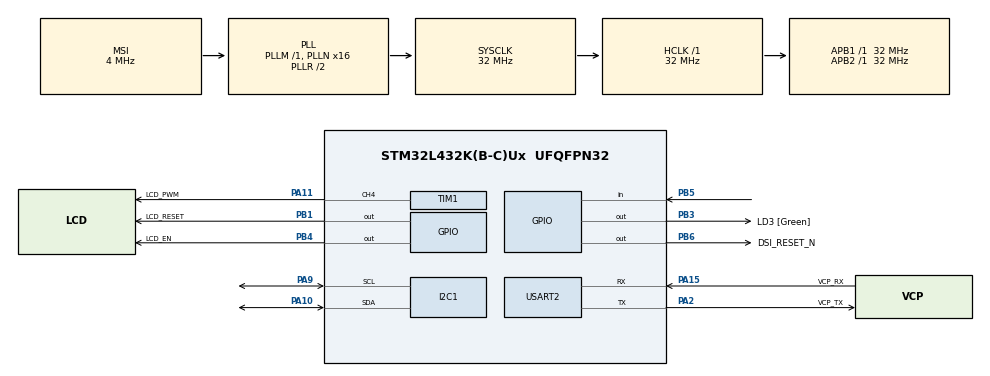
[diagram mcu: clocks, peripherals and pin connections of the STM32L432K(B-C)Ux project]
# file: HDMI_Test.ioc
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Dma.Request0=USART2_RX
Dma.Request1=USART2_TX
Dma.USART2_RX.0.Direction=DMA_PERIPH_TO_MEMORY
Dma.USART2_RX.0.Instance=DMA1_Channel6
Dma.USART2_RX.0.MemDataAlignment=DMA_MDATAALIGN_BYTE
Dma.USART2_RX.0.MemInc=DMA_MINC_ENABLE
Dma.USART2_RX.0.Mode=DMA_NORMAL
Dma.USART2_RX.0.PeriphDataAlignment=DMA_PDATAALIGN_BYTE
Dma.USART2_RX.0.PeriphInc=DMA_PINC_DISABLE
Dma.USART2_RX.0.Priority=DMA_PRIORITY_LOW
Dma.USART2_TX.1.Direction=DMA_MEMORY_TO_PERIPH
Dma.USART2_TX.1.Instance=DMA1_Channel7
Dma.USART2_TX.1.MemDataAlignment=DMA_MDATAALIGN_BYTE
Dma.USART2_TX.1.MemInc=DMA_MINC_ENABLE
Dma.USART2_TX.1.Mode=DMA_NORMAL
Dma.USART2_TX.1.PeriphDataAlignment=DMA_PDATAALIGN_BYTE
Dma.USART2_TX.1.PeriphInc=DMA_PINC_DISABLE
Dma.USART2_TX.1.Priority=DMA_PRIORITY_LOW
I2C1.Timing=0x00B07CB4
Mcu.Family=STM32L4
Mcu.Name=STM32L432K(B-C)Ux
Mcu.Package=UFQFPN32
NVIC.DMA1_Channel6_IRQn=true\:0\:0\:false\:false\:true\:false\:true\:true
NVIC.DMA1_Channel7_IRQn=true\:0\:0\:false\:false\:true\:false\:true\:true
NVIC.PriorityGroup=NVIC_PRIORITYGROUP_4
PA0.GPIO_Label=MCO [High speed clock in]
PA0.Mode=HSE-External-Clock-Source-for-LittleOrca
PA0.Signal=RCC_CK_IN
PA10.Mode=I2C
PA10.Signal=I2C1_SDA
PA11.GPIO_Label=LCD_PWM
PA11.Signal=S_TIM1_CH4
PA13\ (JTMS-SWDIO).GPIO_Label=SWDIO
PA13\ (JTMS-SWDIO).Mode=Serial_Wire
PA13\ (JTMS-SWDIO).Signal=SYS_JTMS-SWDIO
PA14\ (JTCK-SWCLK).GPIO_Label=SWCLK
PA14\ (JTCK-SWCLK).Mode=Serial_Wire
PA14\ (JTCK-SWCLK).Signal=SYS_JTCK-SWCLK
PA15\ (JTDI).GPIO_Label=VCP_RX
PA15\ (JTDI).Mode=Asynchronous
PA15\ (JTDI).Signal=USART2_RX
PA2.GPIO_Label=VCP_TX
PA2.Mode=Asynchronous
PA2.Signal=USART2_TX
PA9.Mode=I2C
PA9.Signal=I2C1_SCL
PB1.GPIO_Label=LCD_RESET
PB1.Signal=GPIO_Output
PB3\ (JTDO-TRACESWO).GPIO_Label=LD3 [Green]
PB3\ (JTDO-TRACESWO).Signal=GPIO_Output
PB4\ (NJTRST).GPIO_Label=LCD_EN
PB4\ (NJTRST).Signal=GPIO_Output
PB5.Signal=GPIO_Input
PB6.GPIO_Label=DSI_RESET_N
PB6.Signal=GPIO_Output
PC14-OSC32_IN\ (PC14).Mode=LSE-External-Oscillator
PC14-OSC32_IN\ (PC14).Signal=RCC_OSC32_IN
PC15-OSC32_OUT\ (PC15).Mode=LSE-External-Oscillator
PC15-OSC32_OUT\ (PC15).Signal=RCC_OSC32_OUT
ProjectManager.HeapSize=0x200
ProjectManager.StackSize=0x400
ProjectManager.TargetToolchain=STM32CubeIDE
RCC.AHBFreq_Value=32000000
RCC.APB1Freq_Value=32000000
RCC.APB1TimFreq_Value=32000000
RCC.APB2Freq_Value=32000000
RCC.APB2TimFreq_Value=32000000
RCC.CortexFreq_Value=32000000
RCC.HCLKFreq_Value=32000000
RCC.HSE_VALUE=8000000
RCC.HSI16_VALUE=16000000
RCC.HSI48_VALUE=48000000
RCC.HSI_VALUE=16000000
RCC.MSI_VALUE=4000000
RCC.PLLMUL=RCC_PLLMUL_4
RCC.PLLN=16
RCC.SYSCLKFreq_VALUE=32000000
RCC.SYSCLKSource=RCC_SYSCLKSOURCE_PLLCLK
RCC.VCOOutputFreq_Value=64000000
SH.S_TIM1_CH4.0=TIM1_CH4,PWM Generation4 CH4
TIM1.AutoReloadPreload=TIM_AUTORELOAD_PRELOAD_ENABLE
TIM1.Channel-PWM\ Generation4\ CH4=TIM_CHANNEL_4
TIM1.Period=639
TIM1.Pulse-PWM\ Generation4\ CH4=13107
USART2.VirtualMode-Asynchronous=VM_ASYNC
VP_TIM1_VS_ClockSourceINT.Mode=Internal
board=NUCLEO-L432KC

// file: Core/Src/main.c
/* USER CODE BEGIN Header */
/**
  ******************************************************************************
  * @file           : main.c
  * @brief          : Main program body
  ******************************************************************************
  * @attention
  *
  * Copyright (c) 2023 STMicroelectronics.
  * All rights reserved.
  *
  * This software is licensed under terms that can be found in the LICENSE file
  * in the root directory of this software component.
  * If no LICENSE file comes with this software, it is provided AS-IS.
  *
  ******************************************************************************
  */
/* USER CODE END Header */
#include "main.h"

I2C_HandleTypeDef hi2c1;

TIM_HandleTypeDef htim1;

UART_HandleTypeDef huart2;
DMA_HandleTypeDef hdma_usart2_rx;
DMA_HandleTypeDef hdma_usart2_tx;

void SystemClock_Config(void);
static void MX_GPIO_Init(void);
static void MX_DMA_Init(void);
static void MX_USART2_UART_Init(void);
static void MX_I2C1_Init(void);
static void MX_TIM1_Init(void);
/* USER CODE BEGIN PFP */
#include "State_Machine_GIT.h"
#include "TestEDID_A1.h"
/* USER CODE END PFP */

int main(void)
{

  /* MCU Configuration--------------------------------------------------------*/

  /* Reset of all peripherals, Initializes the Flash interface and the Systick. */
  HAL_Init();

  /* Configure the system clock */
  SystemClock_Config();

  /* Initialize all configured peripherals */
  MX_GPIO_Init();
  MX_DMA_Init();
  MX_USART2_UART_Init();
  MX_I2C1_Init();
  MX_TIM1_Init();
  /* USER CODE BEGIN 2 */
  HAL_UART_Transmit(&huart2,"RS1\r\n",6,10);
  HAL_GPIO_WritePin(GPIOB,LCD_RESET_Pin,GPIO_PIN_SET);
  HAL_Delay(100);
  HAL_GPIO_WritePin(GPIOB,LCD_EN_Pin,GPIO_PIN_SET);
  HAL_TIM_Base_Start(&htim1);
  HAL_TIM_PWM_Start(&htim1,TIM_CHANNEL_4 );
  HAL_UART_Transmit(&huart2,"PWM ON\r\n",6,10);
//  HAL_GPIO_WritePin(GPIOB,LCD_EN_Pin,GPIO_PIN_SET);
//  HAL_UART_Transmit(&huart2,"LCD_EN_Pin ON\r\n",6,10);
//  HAL_GPIO_WritePin(GPIOB,DSI_INT_Pin,GPIO_PIN_RESET);
//  HAL_GPIO_WritePin(GPIOB,LCD_RESET_Pin,GPIO_PIN_SET);
//  HAL_UART_Transmit(&huart2,"LCD_RESET_Pin ON\r\n",6,10);
  HAL_GPIO_WritePin(GPIOB,DSI_RESET_N_Pin,GPIO_PIN_SET);
//  HAL_Delay(100);
  HAL_GPIO_WritePin(GPIOB,LCD_RESET_Pin,GPIO_PIN_RESET);
  HAL_Delay(200);
  HAL_GPIO_WritePin(GPIOB,LCD_RESET_Pin,GPIO_PIN_SET);
  HAL_Delay(1000);
//
//  //__HAL_TIM_SET_COMPARE(&htim1, TIM_CHANNEL_4, 13107);
  RS1(&huart2,&hi2c1);
  //RS2(&huart2,&hi2c1);
  //RS3(&huart2,&hi2c1);
  //RS2_A1(&huart2,&hi2c1); //Con HDMI desconectado
  //HAL_Delay(2000); //Conecto HDMI pero no saca la imagen de ayer por alguna razón
  //RS3_A1(&huart2,&hi2c1);
  /* USER CODE END 2 */

  /* Infinite loop */
  while (1)
  {

//    /* USER CODE BEGIN 3 */
//	  int_status_check(&huart2,&hi2c1);
	 	 //data_send_COM_Info(&huart2,0x23456789,0x1234,1);
	 	 //RS2_A1(&huart2,&hi2c1); //Con HDMI desconectado
	 	 //HAL_Delay(2000); //Conecto HDMI pero no saca la imagen de ayer por alguna razón
	 	 //RS3_A1(&huart2,&hi2c1);
	 	 //HAL_Delay(1000);
  }
  /* USER CODE END 3 */
}

void SystemClock_Config(void)
{
  RCC_OscInitTypeDef RCC_OscInitStruct = {0};
  RCC_ClkInitTypeDef RCC_ClkInitStruct = {0};

  /** Configure the main internal regulator output voltage
  */
  if (HAL_PWREx_ControlVoltageScaling(PWR_REGULATOR_VOLTAGE_SCALE1) != HAL_OK)
  {
    Error_Handler();
  }

  /** Configure LSE Drive Capability
  */
  HAL_PWR_EnableBkUpAccess();
  __HAL_RCC_LSEDRIVE_CONFIG(RCC_LSEDRIVE_LOW);

  /** Initializes the RCC Oscillators according to the specified parameters
  * in the RCC_OscInitTypeDef structure.
  */
  RCC_OscInitStruct.OscillatorType = RCC_OSCILLATORTYPE_LSE|RCC_OSCILLATORTYPE_MSI;
  RCC_OscInitStruct.LSEState = RCC_LSE_ON;
  RCC_OscInitStruct.MSIState = RCC_MSI_ON;
  RCC_OscInitStruct.MSICalibrationValue = 0;
  RCC_OscInitStruct.MSIClockRange = RCC_MSIRANGE_6;
  RCC_OscInitStruct.PLL.PLLState = RCC_PLL_ON;
  RCC_OscInitStruct.PLL.PLLSource = RCC_PLLSOURCE_MSI;
  RCC_OscInitStruct.PLL.PLLM = 1;
  RCC_OscInitStruct.PLL.PLLN = 16;
  RCC_OscInitStruct.PLL.PLLP = RCC_PLLP_DIV7;
  RCC_OscInitStruct.PLL.PLLQ = RCC_PLLQ_DIV2;
  RCC_OscInitStruct.PLL.PLLR = RCC_PLLR_DIV2;
  if (HAL_RCC_OscConfig(&RCC_OscInitStruct) != HAL_OK)
  {
    Error_Handler();
  }

  /** Initializes the CPU, AHB and APB buses clocks
  */
  RCC_ClkInitStruct.ClockType = RCC_CLOCKTYPE_HCLK|RCC_CLOCKTYPE_SYSCLK
                              |RCC_CLOCKTYPE_PCLK1|RCC_CLOCKTYPE_PCLK2;
  RCC_ClkInitStruct.SYSCLKSource = RCC_SYSCLKSOURCE_PLLCLK;
  RCC_ClkInitStruct.AHBCLKDivider = RCC_SYSCLK_DIV1;
  RCC_ClkInitStruct.APB1CLKDivider = RCC_HCLK_DIV1;
  RCC_ClkInitStruct.APB2CLKDivider = RCC_HCLK_DIV1;

  if (HAL_RCC_ClockConfig(&RCC_ClkInitStruct, FLASH_LATENCY_1) != HAL_OK)
  {
    Error_Handler();
  }

  /** Enable MSI Auto calibration
  */
  HAL_RCCEx_EnableMSIPLLMode();
}

static void MX_I2C1_Init(void)
{

  hi2c1.Instance = I2C1;
  hi2c1.Init.Timing = 0x00B07CB4;
  hi2c1.Init.OwnAddress1 = 0;
  hi2c1.Init.AddressingMode = I2C_ADDRESSINGMODE_7BIT;
  hi2c1.Init.DualAddressMode = I2C_DUALADDRESS_DISABLE;
  hi2c1.Init.OwnAddress2 = 0;
  hi2c1.Init.OwnAddress2Masks = I2C_OA2_NOMASK;
  hi2c1.Init.GeneralCallMode = I2C_GENERALCALL_DISABLE;
  hi2c1.Init.NoStretchMode = I2C_NOSTRETCH_DISABLE;
  if (HAL_I2C_Init(&hi2c1) != HAL_OK)
  {
    Error_Handler();
  }

  /** Configure Analogue filter
  */
  if (HAL_I2CEx_ConfigAnalogFilter(&hi2c1, I2C_ANALOGFILTER_ENABLE) != HAL_OK)
  {
    Error_Handler();
  }

  /** Configure Digital filter
  */
  if (HAL_I2CEx_ConfigDigitalFilter(&hi2c1, 0) != HAL_OK)
  {
    Error_Handler();
  }

}

static void MX_TIM1_Init(void)
{

  TIM_ClockConfigTypeDef sClockSourceConfig = {0};
  TIM_MasterConfigTypeDef sMasterConfig = {0};
  TIM_OC_InitTypeDef sConfigOC = {0};
  TIM_BreakDeadTimeConfigTypeDef sBreakDeadTimeConfig = {0};

  htim1.Instance = TIM1;
  htim1.Init.Prescaler = 0;
  htim1.Init.CounterMode = TIM_COUNTERMODE_UP;
  htim1.Init.Period = 639;
  htim1.Init.ClockDivision = TIM_CLOCKDIVISION_DIV1;
  htim1.Init.RepetitionCounter = 0;
  htim1.Init.AutoReloadPreload = TIM_AUTORELOAD_PRELOAD_ENABLE;
  if (HAL_TIM_Base_Init(&htim1) != HAL_OK)
  {
    Error_Handler();
  }
  sClockSourceConfig.ClockSource = TIM_CLOCKSOURCE_INTERNAL;
  if (HAL_TIM_ConfigClockSource(&htim1, &sClockSourceConfig) != HAL_OK)
  {
    Error_Handler();
  }
  if (HAL_TIM_PWM_Init(&htim1) != HAL_OK)
  {
    Error_Handler();
  }
  sMasterConfig.MasterOutputTrigger = TIM_TRGO_RESET;
  sMasterConfig.MasterOutputTrigger2 = TIM_TRGO2_RESET;
  sMasterConfig.MasterSlaveMode = TIM_MASTERSLAVEMODE_DISABLE;
  if (HAL_TIMEx_MasterConfigSynchronization(&htim1, &sMasterConfig) != HAL_OK)
  {
    Error_Handler();
  }
  sConfigOC.OCMode = TIM_OCMODE_PWM1;
  sConfigOC.Pulse = 13107;
  sConfigOC.OCPolarity = TIM_OCPOLARITY_HIGH;
  sConfigOC.OCFastMode = TIM_OCFAST_DISABLE;
  sConfigOC.OCIdleState = TIM_OCIDLESTATE_RESET;
  sConfigOC.OCNIdleState = TIM_OCNIDLESTATE_RESET;
  if (HAL_TIM_PWM_ConfigChannel(&htim1, &sConfigOC, TIM_CHANNEL_4) != HAL_OK)
  {
    Error_Handler();
  }
  sBreakDeadTimeConfig.OffStateRunMode = TIM_OSSR_DISABLE;
  sBreakDeadTimeConfig.OffStateIDLEMode = TIM_OSSI_DISABLE;
  sBreakDeadTimeConfig.LockLevel = TIM_LOCKLEVEL_OFF;
  sBreakDeadTimeConfig.DeadTime = 0;
  sBreakDeadTimeConfig.BreakState = TIM_BREAK_DISABLE;
  sBreakDeadTimeConfig.BreakPolarity = TIM_BREAKPOLARITY_HIGH;
  sBreakDeadTimeConfig.BreakFilter = 0;
  sBreakDeadTimeConfig.Break2State = TIM_BREAK2_DISABLE;
  sBreakDeadTimeConfig.Break2Polarity = TIM_BREAK2POLARITY_HIGH;
  sBreakDeadTimeConfig.Break2Filter = 0;
  sBreakDeadTimeConfig.AutomaticOutput = TIM_AUTOMATICOUTPUT_DISABLE;
  if (HAL_TIMEx_ConfigBreakDeadTime(&htim1, &sBreakDeadTimeConfig) != HAL_OK)
  {
    Error_Handler();
  }
  HAL_TIM_MspPostInit(&htim1);

}

static void MX_USART2_UART_Init(void)
{

  huart2.Instance = USART2;
  huart2.Init.BaudRate = 115200;
  huart2.Init.WordLength = UART_WORDLENGTH_8B;
  huart2.Init.StopBits = UART_STOPBITS_1;
  huart2.Init.Parity = UART_PARITY_NONE;
  huart2.Init.Mode = UART_MODE_TX_RX;
  huart2.Init.HwFlowCtl = UART_HWCONTROL_NONE;
  huart2.Init.OverSampling = UART_OVERSAMPLING_16;
  huart2.Init.OneBitSampling = UART_ONE_BIT_SAMPLE_DISABLE;
  huart2.AdvancedInit.AdvFeatureInit = UART_ADVFEATURE_NO_INIT;
  if (HAL_UART_Init(&huart2) != HAL_OK)
  {
    Error_Handler();
  }

}

static void MX_DMA_Init(void)
{

  /* DMA controller clock enable */
  __HAL_RCC_DMA1_CLK_ENABLE();

  /* DMA interrupt init */
  /* DMA1_Channel6_IRQn interrupt configuration */
  HAL_NVIC_SetPriority(DMA1_Channel6_IRQn, 0, 0);
  HAL_NVIC_EnableIRQ(DMA1_Channel6_IRQn);
  /* DMA1_Channel7_IRQn interrupt configuration */
  HAL_NVIC_SetPriority(DMA1_Channel7_IRQn, 0, 0);
  HAL_NVIC_EnableIRQ(DMA1_Channel7_IRQn);

}

static void MX_GPIO_Init(void)
{
  GPIO_InitTypeDef GPIO_InitStruct = {0};

  /* GPIO Ports Clock Enable */
  __HAL_RCC_GPIOC_CLK_ENABLE();
  __HAL_RCC_GPIOA_CLK_ENABLE();
  __HAL_RCC_GPIOB_CLK_ENABLE();

  /*Configure GPIO pin Output Level */
  HAL_GPIO_WritePin(GPIOB, LCD_RESET_Pin|LD3_Pin|LCD_EN_Pin|DSI_RESET_N_Pin, GPIO_PIN_RESET);

  /*Configure GPIO pins : LCD_RESET_Pin LD3_Pin LCD_EN_Pin DSI_RESET_N_Pin */
  GPIO_InitStruct.Pin = LCD_RESET_Pin|LD3_Pin|LCD_EN_Pin|DSI_RESET_N_Pin;
  GPIO_InitStruct.Mode = GPIO_MODE_OUTPUT_PP;
  GPIO_InitStruct.Pull = GPIO_NOPULL;
  GPIO_InitStruct.Speed = GPIO_SPEED_FREQ_LOW;
  HAL_GPIO_Init(GPIOB, &GPIO_InitStruct);

  /*Configure GPIO pin : PB5 */
  GPIO_InitStruct.Pin = GPIO_PIN_5;
  GPIO_InitStruct.Mode = GPIO_MODE_INPUT;
  GPIO_InitStruct.Pull = GPIO_NOPULL;
  HAL_GPIO_Init(GPIOB, &GPIO_InitStruct);

}

void Error_Handler(void)
{
  __disable_irq();
  while (1)
  {
  }
}
